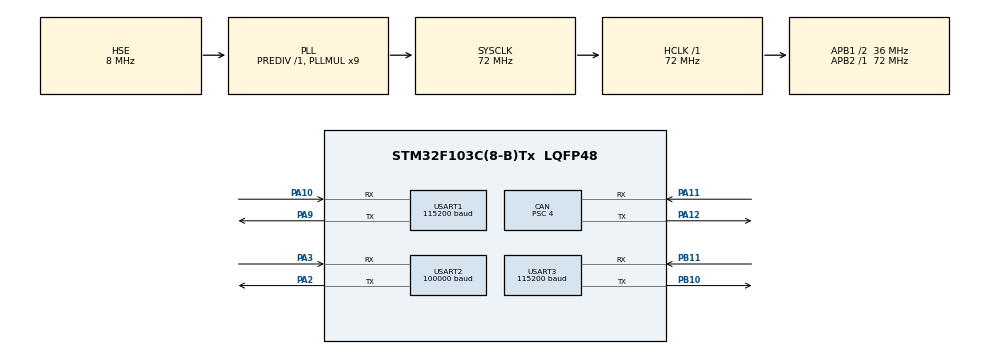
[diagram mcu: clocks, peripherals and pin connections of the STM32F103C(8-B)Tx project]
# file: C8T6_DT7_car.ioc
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CAN.ABOM=ENABLE
CAN.AWUM=ENABLE
CAN.BS1=CAN_BS1_9TQ
CAN.BS2=CAN_BS2_8TQ
CAN.CalculateBaudRate=500000
CAN.CalculateTimeBit=2000
CAN.CalculateTimeQuantum=111.11111111111111
CAN.Mode=CAN_MODE_NORMAL
CAN.NART=ENABLE
CAN.Prescaler=4
Mcu.Family=STM32F1
Mcu.Name=STM32F103C(8-B)Tx
Mcu.Package=LQFP48
NVIC.PriorityGroup=NVIC_PRIORITYGROUP_4
NVIC.USART1_IRQn=true\:0\:0\:false\:false\:true\:true\:true\:true
NVIC.USART2_IRQn=true\:0\:0\:false\:false\:true\:true\:true\:true
NVIC.USART3_IRQn=true\:0\:0\:false\:false\:true\:true\:true\:true
NVIC.USB_LP_CAN1_RX0_IRQn=true\:0\:0\:false\:false\:true\:true\:true\:true
PA10.Mode=Asynchronous
PA10.Signal=USART1_RX
PA11.Mode=CAN_Activate
PA11.Signal=CAN_RX
PA12.Mode=CAN_Activate
PA12.Signal=CAN_TX
PA13.Mode=Serial_Wire
PA13.Signal=SYS_JTMS-SWDIO
PA14.Mode=Serial_Wire
PA14.Signal=SYS_JTCK-SWCLK
PA2.Mode=Asynchronous
PA2.Signal=USART2_TX
PA3.Mode=Asynchronous
PA3.Signal=USART2_RX
PA9.Mode=Asynchronous
PA9.Signal=USART1_TX
PB10.Mode=Asynchronous
PB10.Signal=USART3_TX
PB11.Mode=Asynchronous
PB11.Signal=USART3_RX
PD0-OSC_IN.Mode=HSE-External-Oscillator
PD0-OSC_IN.Signal=RCC_OSC_IN
PD1-OSC_OUT.Mode=HSE-External-Oscillator
PD1-OSC_OUT.Signal=RCC_OSC_OUT
ProjectManager.HeapSize=0x200
ProjectManager.StackSize=0x400
ProjectManager.TargetToolchain=MDK-ARM V5.32
RCC.AHBFreq_Value=72000000
RCC.APB1CLKDivider=RCC_HCLK_DIV2
RCC.APB1Freq_Value=36000000
RCC.APB1TimFreq_Value=72000000
RCC.APB2Freq_Value=72000000
RCC.APB2TimFreq_Value=72000000
RCC.HCLKFreq_Value=72000000
RCC.PLLMUL=RCC_PLL_MUL9
RCC.PLLSourceVirtual=RCC_PLLSOURCE_HSE
RCC.SYSCLKFreq_VALUE=72000000
RCC.SYSCLKSource=RCC_SYSCLKSOURCE_PLLCLK
RCC.USBFreq_Value=72000000
USART1.BaudRate=115200
USART1.Parity=PARITY_NONE
USART1.VirtualMode=VM_ASYNC
USART2.BaudRate=100000
USART2.Parity=PARITY_EVEN
USART2.VirtualMode=VM_ASYNC
USART3.BaudRate=115200
USART3.VirtualMode=VM_ASYNC
board=custom

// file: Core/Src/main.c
/* USER CODE BEGIN Header */
/**
 ******************************************************************************
 * @file           : main.c
 * @brief          : 小车底盘主程序（X5 串口控制 + DT7 遥控兜底 + CAN1 电机指令）
 ******************************************************************************
 * @attention
 *
 * Copyright (c) 2026 STMicroelectronics.
 * All rights reserved.
 *
 * This software is licensed under terms that can be found in the LICENSE file
 * in the root directory of this software component.
 * If no LICENSE file comes with this software, it is provided AS-IS.
 *
 ******************************************************************************
 */
/* USER CODE END Header */
#include "main.h"
#include "usart.h"
#include "gpio.h"

/* USER CODE BEGIN Includes */
#include "can.h"
#include "can_bus.h"
#include "protocol.h"
#include "x5_link.h"
#include "DBUS.h"
#include "uart_rx.h"
/* USER CODE END Includes */

/* USER CODE BEGIN PD */
#define CTRL_PERIOD_MS      10u    /* 电机指令周期：控制器要求 5~20 ms */
#define STATUS_PERIOD_MS    100u   /* 上行状态帧周期：10 Hz */
#define RC_UNIT_MAX         660    /* DT7 摇杆满量程（±660） */
#define CMD_UNIT_MAX        1000   /* 下发给控制器的无量纲指令范围 */
#define RC_DEADZONE         20     /* 摇杆死区，防抖 */
/* USER CODE END PD */

/* USER CODE BEGIN PV */
static uint8_t s_src = PROTO_SRC_NONE;   /* 当前占上风的控制源，随状态帧上报 */
/* USER CODE END PV */

void SystemClock_Config(void);
/* USER CODE BEGIN PFP */
static int16_t rc_to_units(int16_t channel);
static void car_control_tick(void);
static void car_status_tick(void);
/* USER CODE END PFP */

/* USER CODE BEGIN 0 */

/**
 * @brief  摇杆值 [-660,660] -> 指令单位 [-1000,1000]，并钳位
 */
static int16_t rc_to_units(int16_t channel)
{
    int32_t v = ((int32_t)channel * (int32_t)CMD_UNIT_MAX) / RC_UNIT_MAX;

    if (v > CMD_UNIT_MAX)
    {
        v = CMD_UNIT_MAX;
    }
    if (v < -CMD_UNIT_MAX)
    {
        v = -CMD_UNIT_MAX;
    }
    return (int16_t)v;
}

/**
 * @brief  10 ms 一次的仲裁 + 下发
 *
 *   s2 打到 2（最下面，硬急停）  >  串口（X5 300 ms 内有有效帧）  >  遥控器  >  停
 *
 * 串口优先而不是遥控器优先：跑建图/走圈时人是松手的，遥控器摇杆回中会一直
 * 抢控制权，反而更危险。急停留了物理开关，不依赖优先级。
 */
static void car_control_tick(void)
{
    int16_t speed = 0;
    int16_t angular = 0;
    uint8_t src = PROTO_SRC_NONE;

    if (DBUS_Estop() != 0u)
    {
        /* 硬急停：不采纳任何来源 */
        src = PROTO_SRC_NONE;
    }
    else if (X5_Link_GetCmd(&speed, &angular) != 0)
    {
        src = PROTO_SRC_SERIAL;
    }
    else if (DBUS_Alive() != 0u)
    {
        int16_t gain = (rc.s2 == 3u) ? 3 : 1;   /* s2=1 全速(GPS)，s2=3 三分之一速(中间) */

        speed = (int16_t)(rc_to_units(rc.ch3) / gain);
        angular = (int16_t)(rc_to_units(rc.ch0) / gain);
        if ((speed < RC_DEADZONE) && (speed > -RC_DEADZONE))
        {
            speed = 0;
        }
        if ((angular < RC_DEADZONE) && (angular > -RC_DEADZONE))
        {
            angular = 0;
        }
        src = PROTO_SRC_RC;
    }
    else
    {
        /* 两个来源都没有：发 0，让控制器判"有信号但速度为 0"而不是信号丢失 */
        src = PROTO_SRC_NONE;
    }

    s_src = src;
    CAN_Send_MIX(angular, speed);
}

/**
 * @brief  100 ms 一次的上行状态帧（X5 侧解析成 /car/status）
 */
static void car_status_tick(void)
{
    uint8_t status = 0u;

    if (CAN_Bus_Okay() != 0u)
    {
        status |= PROTO_ST_CAN_OK;
    }
    if (CAN_Bus_AckOkay() != 0u)
    {
        status |= PROTO_ST_CAN_ACK;
    }
    if (X5_Link_Alive() != 0u)
    {
        status |= PROTO_ST_LINK_OK;
    }
    if (DBUS_Alive() != 0u)
    {
        status |= PROTO_ST_RC_OK;
    }
    /* 调试位：先看有没有字节，再看有没有整帧，定位接收机/线/波特率 */
    if (DBUS_AnyByte() != 0u)
    {
        status |= PROTO_ST_UART2_RX;
    }
    if (DBUS_Frames() > 0u)
    {
        status |= PROTO_ST_DBUS_FRAME;
    }
    if (DBUS_Estop() != 0u)
    {
        status |= PROTO_ST_ESTOP;
    }

    X5_Link_SendStatus(status, s_src);
}
/* USER CODE END 0 */

int main(void)
{

  /* USER CODE BEGIN 1 */
  uint32_t now = 0u;
  uint32_t last_ctrl = 0u;
  uint32_t last_status = 0u;
  /* USER CODE END 1 */

  /* MCU Configuration--------------------------------------------------------*/

  /* Reset of all peripherals, Initializes the Flash interface and the Systick. */
  HAL_Init();

  /* Configure the system clock */
  SystemClock_Config();

  /* Initialize all configured peripherals */
  MX_GPIO_Init();
  MX_CAN_Init();
  MX_USART1_UART_Init();
  MX_USART2_UART_Init();
  MX_USART3_UART_Init();
  /* USER CODE BEGIN 2 */

  /*
   * 电机链路：片内 CAN1 (PA11/PA12) -> SN65HVD230 -> 控制器。
   * USART3 只是备用/调试口，不参与电机控制。
   */

  /* 三路接收中断（全工程唯一的 HAL_UART_RxCpltCallback 在 uart_rx.c） */
  UART_Rx_Start();

  /* 链路与遥控初始化 */
  X5_Link_Init(&huart1);
  DBUS_Init();

  /* 启动先发一帧 status：让 X5 立刻知道 C8T6 活了。即使后面 CAN 初始化卡住，
     bridge_node 也能看到这一帧，便于区分“串口没通”和“CAN 初始化失败”。 */
  X5_Link_SendStatus(0u, PROTO_SRC_NONE);

  /* CAN：配置过滤器（全收，便于收 ACK）→ Start → RX 中断 */
  CAN_Bus_Init(&hcan);

  /* USER CODE END 2 */

  /* Infinite loop */
  /* USER CODE BEGIN WHILE */

  /* 注意：这几个变量声明在块首（C89 风格）。工程虽然开着 C99，但 ARMCC 的
     --c90 模式下"语句之后不能再声明变量"，放块首就不用赌编译选项。 */
  now = 0u;
  last_ctrl = HAL_GetTick();
  last_status = last_ctrl;

  while (1)
  {

    now = HAL_GetTick();

    if ((now - last_ctrl) >= CTRL_PERIOD_MS)
    {
      last_ctrl = now;
      car_control_tick();
    }

    if ((now - last_status) >= STATUS_PERIOD_MS)
    {
      last_status = now;
      car_status_tick();
    }

    /* USER CODE END WHILE */

  }
}

void SystemClock_Config(void)
{
  RCC_OscInitTypeDef RCC_OscInitStruct = {0};
  RCC_ClkInitTypeDef RCC_ClkInitStruct = {0};

  /** Initializes the RCC Oscillators according to the specified parameters
  * in the RCC_OscInitTypeDef structure.
  */
  RCC_OscInitStruct.OscillatorType = RCC_OSCILLATORTYPE_HSE;
  RCC_OscInitStruct.HSEState = RCC_HSE_ON;
  RCC_OscInitStruct.HSEPredivValue = RCC_HSE_PREDIV_DIV1;
  RCC_OscInitStruct.HSIState = RCC_HSI_ON;
  RCC_OscInitStruct.PLL.PLLState = RCC_PLL_ON;
  RCC_OscInitStruct.PLL.PLLSource = RCC_PLLSOURCE_HSE;
  RCC_OscInitStruct.PLL.PLLMUL = RCC_PLL_MUL9;
  if (HAL_RCC_OscConfig(&RCC_OscInitStruct) != HAL_OK)
  {
    Error_Handler();
  }

  /** Initializes the CPU, AHB and APB buses clocks
  */
  RCC_ClkInitStruct.ClockType = RCC_CLOCKTYPE_HCLK | RCC_CLOCKTYPE_SYSCLK | RCC_CLOCKTYPE_PCLK1 | RCC_CLOCKTYPE_PCLK2;
  RCC_ClkInitStruct.SYSCLKSource = RCC_SYSCLKSOURCE_PLLCLK;
  RCC_ClkInitStruct.AHBCLKDivider = RCC_SYSCLK_DIV1;
  RCC_ClkInitStruct.APB1CLKDivider = RCC_HCLK_DIV2;
  RCC_ClkInitStruct.APB2CLKDivider = RCC_HCLK_DIV1;

  if (HAL_RCC_ClockConfig(&RCC_ClkInitStruct, FLASH_LATENCY_2) != HAL_OK)
  {
    Error_Handler();
  }
}

void Error_Handler(void)
{
  __disable_irq();
  while (1)
  {
  }
}
